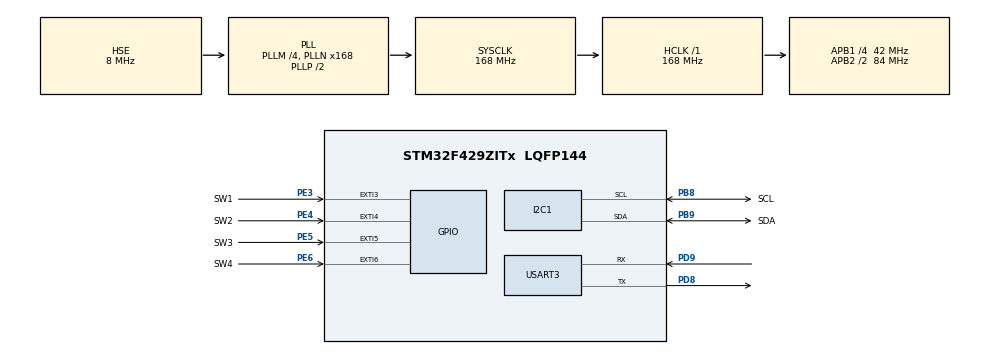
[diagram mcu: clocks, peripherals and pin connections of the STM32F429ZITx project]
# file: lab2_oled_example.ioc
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FREERTOS.Tasks01=defaultTask,24,128,StartDefaultTask,Default,NULL,Dynamic,NULL,NULL
I2C1.I2C_Mode=I2C_Fast
Mcu.Family=STM32F4
Mcu.Name=STM32F429ZITx
Mcu.Package=LQFP144
NVIC.EXTI3_IRQn=true\:5\:0\:false\:false\:true\:true\:true\:true\:true
NVIC.EXTI4_IRQn=true\:5\:0\:false\:false\:true\:true\:true\:true\:true
NVIC.PriorityGroup=NVIC_PRIORITYGROUP_4
NVIC.TIM1_UP_TIM10_IRQn=true\:15\:0\:false\:false\:true\:false\:false\:true\:true
NVIC.TimeBase=TIM1_UP_TIM10_IRQn
NVIC.TimeBaseIP=TIM1
PA13.Mode=Serial_Wire
PA13.Signal=SYS_JTMS-SWDIO
PA14.Mode=Serial_Wire
PA14.Signal=SYS_JTCK-SWCLK
PB8.GPIO_Label=SCL
PB8.Mode=I2C
PB8.Signal=I2C1_SCL
PB9.GPIO_Label=SDA
PB9.Mode=I2C
PB9.Signal=I2C1_SDA
PD8.Mode=Asynchronous
PD8.Signal=USART3_TX
PD9.Mode=Asynchronous
PD9.Signal=USART3_RX
PE3.GPIO_Label=SW1
PE3.Signal=GPXTI3
PE4.GPIO_Label=SW2
PE4.Signal=GPXTI4
PE5.GPIO_Label=SW3
PE5.Signal=GPXTI5
PE6.GPIO_Label=SW4
PE6.Signal=GPXTI6
PH0/OSC_IN.Mode=HSE-External-Oscillator
PH0/OSC_IN.Signal=RCC_OSC_IN
PH1/OSC_OUT.Mode=HSE-External-Oscillator
PH1/OSC_OUT.Signal=RCC_OSC_OUT
ProjectManager.HeapSize=0x200
ProjectManager.StackSize=0x400
ProjectManager.TargetToolchain=MDK-ARM V5.32
RCC.48MHZClocksFreq_Value=48000000
RCC.AHBFreq_Value=168000000
RCC.APB1CLKDivider=RCC_HCLK_DIV4
RCC.APB1Freq_Value=42000000
RCC.APB1TimFreq_Value=84000000
RCC.APB2CLKDivider=RCC_HCLK_DIV2
RCC.APB2Freq_Value=84000000
RCC.APB2TimCLKDivider=2
RCC.APB2TimFreq_Value=168000000
RCC.CortexFreq_Value=168000000
RCC.HCLKFreq_Value=168000000
RCC.HSE_VALUE=8000000
RCC.HSI_VALUE=16000000
RCC.LSE_VALUE=32768
RCC.PLLM=4
RCC.PLLMUL=RCC_PLL_MUL9
RCC.PLLN=168
RCC.PLLQ=7
RCC.PLLSourceVirtual=RCC_PLLSOURCE_HSE
RCC.PRESCALERUSB=RCC_USBCLKSOURCE_PLL_DIV1_5
RCC.SYSCLKFreq_VALUE=168000000
RCC.SYSCLKSource=RCC_SYSCLKSOURCE_PLLCLK
RCC.SYSCLKSourceVirtual=RCC_SYSCLKSOURCE_PLLCLK
RCC.USBFreq_Value=48000000
RCC.VCOOutputFreq_Value=336000000
USART3.VirtualMode=VM_ASYNC
VP_FREERTOS_VS_CMSIS_V2.Mode=CMSIS_V2
VP_SYS_VS_tim1.Mode=TIM1
board=NUCLEO-F429ZI

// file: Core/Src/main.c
/* USER CODE BEGIN Header */
/**
  ******************************************************************************
  * @file           : main.c
  * @brief          : Main program body
  ******************************************************************************
  * @attention
  *
  * Copyright (c) 2024 STMicroelectronics.
  * All rights reserved.
  *
  * This software is licensed under terms that can be found in the LICENSE file
  * in the root directory of this software component.
  * If no LICENSE file comes with this software, it is provided AS-IS.
  *
  ******************************************************************************
  */
/* USER CODE END Header */
#include "main.h"
#include "i2c.h"
#include "usart.h"
#include "gpio.h"

/* USER CODE BEGIN Includes */
#include "FreeRTOS.h"
#include "task.h"
#include "queue.h"
#include "oled.h"
#include "u8g2.h"
#include "stdio.h"
#include "stdbool.h"
#include "string.h"
#include "img_qrcode.h"
#include "bongo_cat_1.h"
#include "bongo_cat_2.h"
#include "capoo1.h"

/* USER CODE END Includes */

/* USER CODE BEGIN PD */
TaskHandle_t handleOled;
QueueHandle_t queueSwitch;

u8g2_t u8g2;
/* USER CODE END PD */

void SystemClock_Config(void);

/* USER CODE BEGIN 0 */
void taskOLED(void *pvParm){
	u8g2Init(&u8g2);
	u8g2_ClearBuffer(&u8g2);
	u8g2_ClearDisplay(&u8g2);
	u8g2_SetFont(&u8g2, u8g2_font_samim_16_t_all);
	uint8_t displayMode = 9;
	uint8_t stuID[9] = "B10913154";
	char str[10];
	int progress ;

	while(1){

		xQueueReceive(queueSwitch, &displayMode, NULL);

		switch(displayMode){
			case 0:{
				u8g2_ClearBuffer(&u8g2);
				u8g2_DrawCircle(&u8g2, 8, 24, 6, U8G2_DRAW_ALL);
					for(int i= 0;i<10;i++)
					{
						snprintf(str, i, "%s", stuID);
						//int numchars = snprintf(str, 10, "%c", stuID[i]);
						//if (numchars > 0) {
           // u8g2_DrawStr(&u8g2, 10, 24, str);
						//}
						//printf("%d",stuID[i]);
						//vTaskDelay(200);
					}
				u8g2_DrawStr(&u8g2, 18, 30, str);
				u8g2_DrawLine(&u8g2, 18, 35, 103, 35);
				u8g2_DrawCircle(&u8g2, 110, 24, 6, U8G2_DRAW_ALL);
				//u8g2_DrawBox(&u8g2, 110, 18, 12, 12);
				u8g2_SendBuffer(&u8g2);

				break;
			}

			case 1:{

				u8g2_ClearBuffer(&u8g2);
				u8g2_DrawXBMP(&u8g2, 0, 0, 64, 64, gImage_capoo1);
				u8g2_SendBuffer(&u8g2);

				break;
			}

			case 2:{

				u8g2_ClearBuffer(&u8g2);
				u8g2_DrawStr(&u8g2, 70, 10, "scan");
				u8g2_DrawStr(&u8g2, 70, 30, "qrcode");
				u8g2_DrawXBMP(&u8g2, 0, 0, 64, 64, gImage_img_qrcode);
				u8g2_SendBuffer(&u8g2);

				break;
			}

			default:{
				u8g2_ClearBuffer(&u8g2);
				u8g2_DrawStr(&u8g2, 40, 28, "finish");
				u8g2_DrawBox(&u8g2,0, 30 ,128, 15);
				if(progress < 128){
				progress = progress +4;
				u8g2_DrawStr(&u8g2, 30, 20, "loadig...");
				u8g2_DrawBox(&u8g2,0, 30 ,progress, 15);
				}
				else{
				u8g2_DrawStr(&u8g2, 40, 28, "finish");
				u8g2_DrawBox(&u8g2,0, 30 ,128, 15);
				}
				u8g2_SendBuffer(&u8g2);
				break;
			}
		}

		vTaskDelay(200);
	}
}

/****
sw1, 2 -> rising edge
sw3, 4 -> falling edge
****/

void HAL_GPIO_EXTI_Callback(uint16_t GPIO_Pin){
	uint8_t mode = 0;

	switch(GPIO_Pin){
		//sw1 PE3
		case GPIO_PIN_3:
		{
			if(HAL_GPIO_ReadPin(SW1_GPIO_Port, SW1_Pin) == 1){
				mode = 0;
				printf("display mode:student id, line, circle\r\n");
				xQueueSendFromISR(queueSwitch, &mode, NULL);
			}
			break;
		}

		//sw2 PE4
		case GPIO_PIN_4:
		{
			if(HAL_GPIO_ReadPin(SW2_GPIO_Port, SW2_Pin) == 1){
				mode = 1;
				printf("display mode:show QRcode, timer \r\n");
				xQueueSendFromISR(queueSwitch, &mode, NULL);
			}
			break;
		}

		default:
		{
			mode = 0;
			xQueueSendFromISR(queueSwitch, &mode, NULL);
			printf("unknown irq happend \r\n");
			break;
		}
	}
}

/* USER CODE END 0 */

int main(void)
{

  /* MCU Configuration--------------------------------------------------------*/

  /* Reset of all peripherals, Initializes the Flash interface and the Systick. */
  HAL_Init();

  /* Configure the system clock */
  SystemClock_Config();

  /* Initialize all configured peripherals */
  MX_GPIO_Init();
  MX_I2C1_Init();
  MX_USART3_UART_Init();
  /* USER CODE BEGIN 2 */
	queueSwitch = xQueueCreate(3, sizeof(uint8_t));
	xTaskCreate(taskOLED, "OLED", 512, NULL, 1, &handleOled);

	vTaskStartScheduler();
  /* USER CODE END 2 */

  /* We should never get here as control is now taken by the scheduler */
  /* Infinite loop */
  while (1)
  {

  }
}

void SystemClock_Config(void)
{
  RCC_OscInitTypeDef RCC_OscInitStruct = {0};
  RCC_ClkInitTypeDef RCC_ClkInitStruct = {0};

  /** Configure the main internal regulator output voltage
  */
  __HAL_RCC_PWR_CLK_ENABLE();
  __HAL_PWR_VOLTAGESCALING_CONFIG(PWR_REGULATOR_VOLTAGE_SCALE1);

  /** Initializes the RCC Oscillators according to the specified parameters
  * in the RCC_OscInitTypeDef structure.
  */
  RCC_OscInitStruct.OscillatorType = RCC_OSCILLATORTYPE_HSE;
  RCC_OscInitStruct.HSEState = RCC_HSE_ON;
  RCC_OscInitStruct.PLL.PLLState = RCC_PLL_ON;
  RCC_OscInitStruct.PLL.PLLSource = RCC_PLLSOURCE_HSE;
  RCC_OscInitStruct.PLL.PLLM = 4;
  RCC_OscInitStruct.PLL.PLLN = 168;
  RCC_OscInitStruct.PLL.PLLP = RCC_PLLP_DIV2;
  RCC_OscInitStruct.PLL.PLLQ = 7;
  if (HAL_RCC_OscConfig(&RCC_OscInitStruct) != HAL_OK)
  {
    Error_Handler();
  }

  /** Initializes the CPU, AHB and APB buses clocks
  */
  RCC_ClkInitStruct.ClockType = RCC_CLOCKTYPE_HCLK|RCC_CLOCKTYPE_SYSCLK
                              |RCC_CLOCKTYPE_PCLK1|RCC_CLOCKTYPE_PCLK2;
  RCC_ClkInitStruct.SYSCLKSource = RCC_SYSCLKSOURCE_PLLCLK;
  RCC_ClkInitStruct.AHBCLKDivider = RCC_SYSCLK_DIV1;
  RCC_ClkInitStruct.APB1CLKDivider = RCC_HCLK_DIV4;
  RCC_ClkInitStruct.APB2CLKDivider = RCC_HCLK_DIV2;

  if (HAL_RCC_ClockConfig(&RCC_ClkInitStruct, FLASH_LATENCY_5) != HAL_OK)
  {
    Error_Handler();
  }
}

void HAL_TIM_PeriodElapsedCallback(TIM_HandleTypeDef *htim)
{
  if (htim->Instance == TIM1) {
    HAL_IncTick();
  }
}

void Error_Handler(void)
{
  __disable_irq();
  while (1)
  {
  }
}
